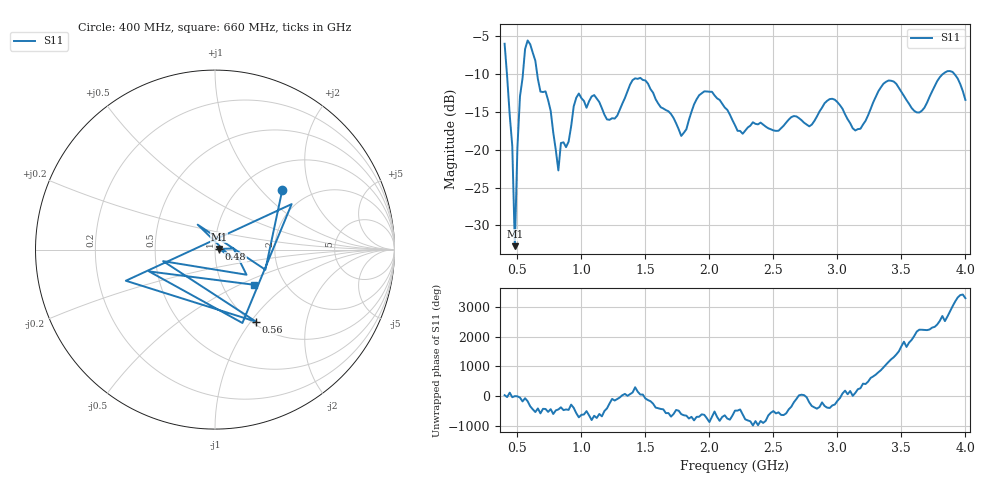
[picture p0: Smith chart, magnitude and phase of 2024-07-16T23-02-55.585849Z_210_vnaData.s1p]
!Created with skrf (http://scikit-rf.org).
# Hz S RI R 50.0
!freq ReS11 ImS11
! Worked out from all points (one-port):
!   181 points, 400 MHz to 4 GHz, reference 50 ohm
!   lowest |S11| = -32.7 dB at 480 MHz (marker M1), VSWR 1.05, Z = 52.3 + j0.397 ohm
!   |S11| at or under -10 dB: 418.2 MHz to 543 MHz (124.8 MHz wide, 26 % of centre); 654.5 MHz to 3.825 GHz (3.17 GHz wide, 142 % of centre); 3.914 GHz to end of sweep
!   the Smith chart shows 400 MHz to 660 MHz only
!   S11 on the Smith chart (normalised r, x): 400 MHz: 1.50, +1.32; 480 MHz: 1.05, +0.01; 560 MHz: 1.04, -1.06; 660 MHz: 1.41, -0.60
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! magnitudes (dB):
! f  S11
! 400 MHz  -6.0
! 460 MHz  -19.5
! 480 MHz  -32.7
! 500 MHz  -19.7
! 520 MHz  -13.0
! 560 MHz  -6.7
! 600 MHz  -6.1
! 660 MHz  -10.7
! 760 MHz  -14.9
! 820 MHz  -22.7
! 860 MHz  -19.0
! 900 MHz  -18.9
! 980 MHz  -12.6
! 1.3 GHz  -14.7
! 1.46 GHz  -10.5
! 1.76 GHz  -17.3
! 1.96 GHz  -12.3
! 2.2 GHz  -16.8
! 2.66 GHz  -15.6
! 2.78 GHz  -16.9
! 2.96 GHz  -13.3
! 3.1 GHz  -16.5
! 3.18 GHz  -17.2
! 3.4 GHz  -10.9
! 3.56 GHz  -13.9
! 3.66 GHz  -14.8
! 3.86 GHz  -9.6
! 4 GHz  -13.4
